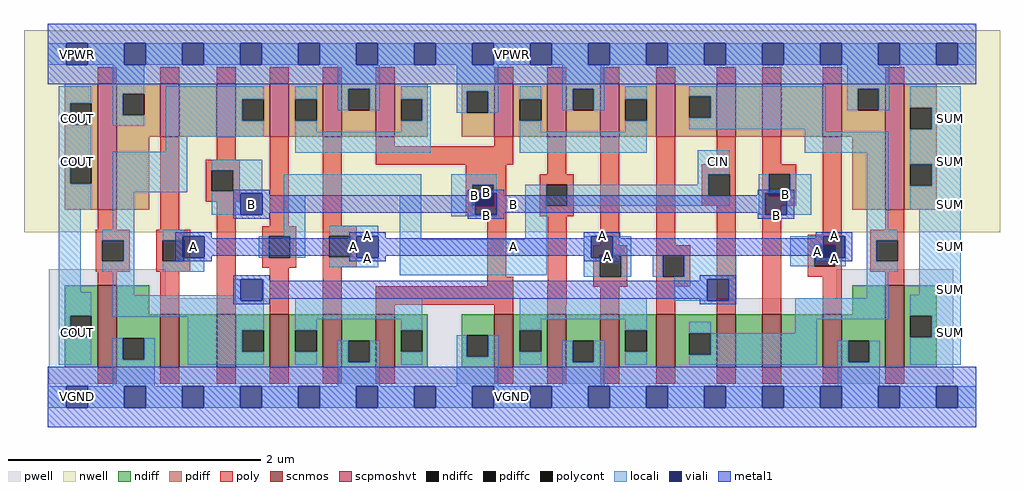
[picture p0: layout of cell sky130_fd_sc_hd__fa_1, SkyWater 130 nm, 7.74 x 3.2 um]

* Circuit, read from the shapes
.subckt sky130_fd_sc_hd__fa_1 A B CIN VGND VNB VPB VPWR COUT SUM
XM1 VGND n1 COUT VNB sky130_fd_pr__nfet_01v8 w=0.65 l=0.15
XM2 n2 A VGND VNB sky130_fd_pr__nfet_01v8 w=0.42 l=0.15
XM3 n1 B n2 VNB sky130_fd_pr__nfet_01v8 w=0.42 l=0.15
XM4 n3 CIN n1 VNB sky130_fd_pr__nfet_01v8 w=0.42 l=0.15
XM5 VGND A n3 VNB sky130_fd_pr__nfet_01v8 w=0.42 l=0.15
XM6 n3 B VGND VNB sky130_fd_pr__nfet_01v8 w=0.42 l=0.15
XM7 n4 B VGND VNB sky130_fd_pr__nfet_01v8 w=0.42 l=0.15
XM8 VGND CIN n4 VNB sky130_fd_pr__nfet_01v8 w=0.42 l=0.15
XM9 n4 A VGND VNB sky130_fd_pr__nfet_01v8 w=0.42 l=0.15
XM10 n5 n1 n4 VNB sky130_fd_pr__nfet_01v8 w=0.42 l=0.15
XM11 n6 CIN n5 VNB sky130_fd_pr__nfet_01v8 w=0.42 l=0.15
XM12 n7 B n6 VNB sky130_fd_pr__nfet_01v8 w=0.42 l=0.15
XM13 VGND A n7 VNB sky130_fd_pr__nfet_01v8 w=0.42 l=0.15
XM14 SUM n5 VGND VNB sky130_fd_pr__nfet_01v8 w=0.65 l=0.15
XM15 VPWR n1 COUT VPB sky130_fd_pr__pfet_01v8_hvt w=1 l=0.15
XM16 n8 A VPWR VPB sky130_fd_pr__pfet_01v8_hvt w=0.42 l=0.15
XM17 n1 B n8 VPB sky130_fd_pr__pfet_01v8_hvt w=0.42 l=0.15
XM18 n9 CIN n1 VPB sky130_fd_pr__pfet_01v8_hvt w=0.42 l=0.15
XM19 VPWR A n9 VPB sky130_fd_pr__pfet_01v8_hvt w=0.42 l=0.15
XM20 n9 B VPWR VPB sky130_fd_pr__pfet_01v8_hvt w=0.42 l=0.15
XM21 n10 B VPWR VPB sky130_fd_pr__pfet_01v8_hvt w=0.42 l=0.15
XM22 VPWR CIN n10 VPB sky130_fd_pr__pfet_01v8_hvt w=0.42 l=0.15
XM23 n10 A VPWR VPB sky130_fd_pr__pfet_01v8_hvt w=0.42 l=0.15
XM24 n5 n1 n10 VPB sky130_fd_pr__pfet_01v8_hvt w=0.42 l=0.15
XM25 n11 CIN n5 VPB sky130_fd_pr__pfet_01v8_hvt w=0.42 l=0.15
XM26 n12 B n11 VPB sky130_fd_pr__pfet_01v8_hvt w=0.42 l=0.15
XM27 VPWR A n12 VPB sky130_fd_pr__pfet_01v8_hvt w=0.42 l=0.15
XM28 SUM n5 VPWR VPB sky130_fd_pr__pfet_01v8_hvt w=1 l=0.15
.ends

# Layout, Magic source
magic
tech sky130A
magscale 1 2
<< nwell >>
rect -38 261 1510 582
<< pwell >>
rect 1 157 187 203
rect 1250 157 1436 203
rect 1 21 1436 157
rect 30 -17 64 21
<< scnmos >>
rect 79 47 109 177
rect 178 47 208 131
rect 268 47 298 131
rect 352 47 382 131
rect 436 47 466 131
rect 520 47 550 131
rect 708 47 738 131
rect 792 47 822 131
rect 876 47 906 131
rect 965 47 995 131
rect 1061 47 1091 131
rect 1133 47 1163 131
rect 1229 47 1259 131
rect 1328 47 1358 177
<< scpmoshvt >>
rect 79 297 109 497
rect 178 413 208 497
rect 268 413 298 497
rect 352 413 382 497
rect 436 413 466 497
rect 520 413 550 497
rect 708 413 738 497
rect 792 413 822 497
rect 876 413 906 497
rect 965 413 995 497
rect 1061 413 1091 497
rect 1133 413 1163 497
rect 1229 413 1259 497
rect 1328 297 1358 497
<< ndiff >>
rect 27 129 79 177
rect 27 95 35 129
rect 69 95 79 129
rect 27 47 79 95
rect 109 131 161 177
rect 1276 131 1328 177
rect 109 93 178 131
rect 109 59 119 93
rect 153 59 178 93
rect 109 47 178 59
rect 208 47 268 131
rect 298 106 352 131
rect 298 72 308 106
rect 342 72 352 106
rect 298 47 352 72
rect 382 106 436 131
rect 382 72 392 106
rect 426 72 436 106
rect 382 47 436 72
rect 466 89 520 131
rect 466 55 476 89
rect 510 55 520 89
rect 466 47 520 55
rect 550 106 602 131
rect 550 72 560 106
rect 594 72 602 106
rect 550 47 602 72
rect 656 98 708 131
rect 656 64 664 98
rect 698 64 708 98
rect 656 47 708 64
rect 738 106 792 131
rect 738 72 748 106
rect 782 72 792 106
rect 738 47 792 72
rect 822 89 876 131
rect 822 55 832 89
rect 866 55 876 89
rect 822 47 876 55
rect 906 106 965 131
rect 906 72 916 106
rect 950 72 965 106
rect 906 47 965 72
rect 995 101 1061 131
rect 995 67 1017 101
rect 1051 67 1061 101
rect 995 47 1061 67
rect 1091 47 1133 131
rect 1163 47 1229 131
rect 1259 89 1328 131
rect 1259 55 1269 89
rect 1303 55 1328 89
rect 1259 47 1328 55
rect 1358 129 1410 177
rect 1358 95 1368 129
rect 1402 95 1410 129
rect 1358 47 1410 95
<< pdiff >>
rect 27 466 79 497
rect 27 432 35 466
rect 69 432 79 466
rect 27 372 79 432
rect 27 338 35 372
rect 69 338 79 372
rect 27 297 79 338
rect 109 481 178 497
rect 109 447 119 481
rect 153 447 178 481
rect 109 413 178 447
rect 208 413 268 497
rect 298 472 352 497
rect 298 438 308 472
rect 342 438 352 472
rect 298 413 352 438
rect 382 472 436 497
rect 382 438 392 472
rect 426 438 436 472
rect 382 413 436 438
rect 466 489 520 497
rect 466 455 476 489
rect 510 455 520 489
rect 466 413 520 455
rect 550 472 602 497
rect 550 438 560 472
rect 594 438 602 472
rect 550 413 602 438
rect 656 485 708 497
rect 656 451 664 485
rect 698 451 708 485
rect 656 413 708 451
rect 738 472 792 497
rect 738 438 748 472
rect 782 438 792 472
rect 738 413 792 438
rect 822 489 876 497
rect 822 455 832 489
rect 866 455 876 489
rect 822 413 876 455
rect 906 472 965 497
rect 906 438 916 472
rect 950 438 965 472
rect 906 413 965 438
rect 995 477 1061 497
rect 995 443 1017 477
rect 1051 443 1061 477
rect 995 413 1061 443
rect 1091 413 1133 497
rect 1163 413 1229 497
rect 1259 489 1328 497
rect 1259 455 1284 489
rect 1318 455 1328 489
rect 1259 413 1328 455
rect 109 297 161 413
rect 1276 297 1328 413
rect 1358 459 1410 497
rect 1358 425 1368 459
rect 1402 425 1410 459
rect 1358 369 1410 425
rect 1358 335 1368 369
rect 1402 335 1410 369
rect 1358 297 1410 335
<< ndiffc >>
rect 35 95 69 129
rect 119 59 153 93
rect 308 72 342 106
rect 392 72 426 106
rect 476 55 510 89
rect 560 72 594 106
rect 664 64 698 98
rect 748 72 782 106
rect 832 55 866 89
rect 916 72 950 106
rect 1017 67 1051 101
rect 1269 55 1303 89
rect 1368 95 1402 129
<< pdiffc >>
rect 35 432 69 466
rect 35 338 69 372
rect 119 447 153 481
rect 308 438 342 472
rect 392 438 426 472
rect 476 455 510 489
rect 560 438 594 472
rect 664 451 698 485
rect 748 438 782 472
rect 832 455 866 489
rect 916 438 950 472
rect 1017 443 1051 477
rect 1284 455 1318 489
rect 1368 425 1402 459
rect 1368 335 1402 369
<< poly >>
rect 79 497 109 523
rect 178 497 208 523
rect 268 497 298 523
rect 352 497 382 523
rect 436 497 466 523
rect 520 497 550 523
rect 708 497 738 523
rect 792 497 822 523
rect 876 497 906 523
rect 965 497 995 523
rect 1061 497 1091 523
rect 1133 497 1163 523
rect 1229 497 1259 523
rect 1328 497 1358 523
rect 79 265 109 297
rect 178 265 208 413
rect 268 376 298 413
rect 250 360 304 376
rect 250 326 260 360
rect 294 326 304 360
rect 250 310 304 326
rect 76 249 130 265
rect 76 215 86 249
rect 120 215 130 249
rect 76 199 130 215
rect 172 249 226 265
rect 172 215 182 249
rect 216 215 226 249
rect 172 199 226 215
rect 79 177 109 199
rect 178 131 208 199
rect 268 131 298 310
rect 352 271 382 413
rect 436 272 466 413
rect 520 398 550 413
rect 708 398 738 413
rect 520 368 738 398
rect 663 337 727 368
rect 792 353 822 413
rect 663 303 673 337
rect 707 303 727 337
rect 663 287 727 303
rect 780 337 834 353
rect 780 303 790 337
rect 824 303 834 337
rect 780 287 834 303
rect 340 255 394 271
rect 340 221 350 255
rect 384 221 394 255
rect 340 205 394 221
rect 436 256 490 272
rect 436 222 446 256
rect 480 222 490 256
rect 436 206 490 222
rect 352 131 382 205
rect 436 131 466 206
rect 697 191 727 287
rect 697 176 738 191
rect 793 176 823 287
rect 876 241 906 413
rect 965 241 995 413
rect 1061 369 1091 413
rect 1037 353 1091 369
rect 1037 319 1047 353
rect 1081 319 1091 353
rect 1037 303 1091 319
rect 520 146 738 176
rect 520 131 550 146
rect 708 131 738 146
rect 792 146 823 176
rect 865 225 919 241
rect 865 191 875 225
rect 909 191 919 225
rect 865 175 919 191
rect 965 225 1019 241
rect 965 191 975 225
rect 1009 191 1019 225
rect 965 175 1019 191
rect 792 131 822 146
rect 876 131 906 175
rect 965 131 995 175
rect 1061 131 1091 303
rect 1133 369 1163 413
rect 1133 353 1187 369
rect 1133 319 1143 353
rect 1177 319 1187 353
rect 1133 303 1187 319
rect 1133 131 1163 303
rect 1229 257 1259 413
rect 1328 265 1358 297
rect 1205 241 1259 257
rect 1205 207 1215 241
rect 1249 207 1259 241
rect 1205 191 1259 207
rect 1304 249 1358 265
rect 1304 215 1314 249
rect 1348 215 1358 249
rect 1304 199 1358 215
rect 1229 131 1259 191
rect 1328 177 1358 199
rect 79 21 109 47
rect 178 21 208 47
rect 268 21 298 47
rect 352 21 382 47
rect 436 21 466 47
rect 520 21 550 47
rect 708 21 738 47
rect 792 21 822 47
rect 876 21 906 47
rect 965 21 995 47
rect 1061 21 1091 47
rect 1133 21 1163 47
rect 1229 21 1259 47
rect 1328 21 1358 47
<< polycont >>
rect 260 326 294 360
rect 86 215 120 249
rect 182 215 216 249
rect 673 303 707 337
rect 790 303 824 337
rect 350 221 384 255
rect 446 222 480 256
rect 1047 319 1081 353
rect 875 191 909 225
rect 975 191 1009 225
rect 1143 319 1177 353
rect 1215 207 1249 241
rect 1314 215 1348 249
<< locali >>
rect 0 527 29 561
rect 63 527 121 561
rect 155 527 213 561
rect 247 527 305 561
rect 339 527 397 561
rect 431 527 489 561
rect 523 527 581 561
rect 615 527 673 561
rect 707 527 765 561
rect 799 527 857 561
rect 891 527 949 561
rect 983 527 1041 561
rect 1075 527 1133 561
rect 1167 527 1225 561
rect 1259 527 1317 561
rect 1351 527 1409 561
rect 1443 527 1472 561
rect 17 466 69 493
rect 17 432 35 466
rect 17 372 69 432
rect 103 481 153 527
rect 103 447 119 481
rect 103 430 153 447
rect 187 472 342 493
rect 187 438 308 472
rect 187 413 342 438
rect 392 472 426 493
rect 460 489 526 527
rect 460 455 476 489
rect 510 455 526 489
rect 560 472 607 493
rect 392 421 426 438
rect 594 438 607 472
rect 648 485 714 527
rect 648 451 664 485
rect 698 451 714 485
rect 748 472 782 493
rect 560 421 607 438
rect 187 389 221 413
rect 17 338 35 372
rect 17 297 69 338
rect 103 325 221 389
rect 392 387 607 421
rect 816 489 882 527
rect 816 455 832 489
rect 866 455 882 489
rect 916 472 950 493
rect 748 421 782 438
rect 916 421 950 438
rect 1017 477 1234 493
rect 1051 443 1234 477
rect 1268 489 1334 527
rect 1268 455 1284 489
rect 1318 455 1334 489
rect 1368 459 1448 493
rect 1017 425 1234 443
rect 748 387 950 421
rect 1200 421 1234 425
rect 1402 425 1448 459
rect 260 360 340 376
rect 294 326 340 360
rect 1031 353 1081 391
rect 1200 387 1333 421
rect 17 166 52 297
rect 103 265 137 325
rect 260 323 340 326
rect 260 289 306 323
rect 374 319 592 353
rect 86 249 137 265
rect 120 215 137 249
rect 86 199 137 215
rect 182 255 216 265
rect 374 255 408 319
rect 182 249 214 255
rect 334 221 350 255
rect 384 221 408 255
rect 446 256 524 272
rect 480 255 524 256
rect 480 222 490 255
rect 446 221 490 222
rect 216 215 248 221
rect 182 199 248 215
rect 446 206 524 221
rect 558 250 592 319
rect 640 337 712 353
rect 1031 337 1047 353
rect 640 303 673 337
rect 707 323 712 337
rect 640 289 678 303
rect 640 287 712 289
rect 757 303 790 337
rect 824 319 1047 337
rect 824 303 1081 319
rect 1127 323 1143 353
rect 757 250 791 303
rect 1127 289 1138 323
rect 1177 319 1211 353
rect 1172 289 1211 319
rect 1299 265 1333 387
rect 1368 369 1448 425
rect 1402 335 1448 369
rect 1368 297 1448 335
rect 17 129 69 166
rect 17 95 35 129
rect 103 161 137 199
rect 558 193 791 250
rect 850 221 862 255
rect 896 225 925 255
rect 1177 241 1230 255
rect 850 191 875 221
rect 909 191 925 225
rect 959 191 975 225
rect 1009 191 1092 225
rect 1177 207 1215 241
rect 1264 221 1265 255
rect 1249 207 1265 221
rect 1299 249 1348 265
rect 1299 215 1314 249
rect 993 187 1092 191
rect 294 161 306 187
rect 103 153 306 161
rect 340 153 342 187
rect 103 127 342 153
rect 17 51 69 95
rect 222 106 342 127
rect 103 59 119 93
rect 153 59 169 93
rect 103 17 169 59
rect 222 72 308 106
rect 222 51 342 72
rect 392 123 594 157
rect 392 106 426 123
rect 560 106 594 123
rect 392 51 426 72
rect 460 55 476 89
rect 510 55 526 89
rect 460 17 526 55
rect 748 123 950 157
rect 993 153 1046 187
rect 1080 153 1092 187
rect 1299 199 1348 215
rect 1299 157 1333 199
rect 1382 162 1448 297
rect 748 106 782 123
rect 560 51 594 72
rect 648 64 664 98
rect 698 64 714 98
rect 648 17 714 64
rect 916 106 950 123
rect 1185 123 1333 157
rect 1368 129 1448 162
rect 748 51 782 72
rect 816 55 832 89
rect 866 55 882 89
rect 816 17 882 55
rect 916 51 950 72
rect 1017 101 1051 119
rect 1185 101 1219 123
rect 1051 67 1219 101
rect 1402 95 1448 129
rect 1017 51 1219 67
rect 1253 55 1269 89
rect 1303 55 1319 89
rect 1253 17 1319 55
rect 1368 51 1448 95
rect 0 -17 29 17
rect 63 -17 121 17
rect 155 -17 213 17
rect 247 -17 305 17
rect 339 -17 397 17
rect 431 -17 489 17
rect 523 -17 581 17
rect 615 -17 673 17
rect 707 -17 765 17
rect 799 -17 857 17
rect 891 -17 949 17
rect 983 -17 1041 17
rect 1075 -17 1133 17
rect 1167 -17 1225 17
rect 1259 -17 1317 17
rect 1351 -17 1409 17
rect 1443 -17 1472 17
<< viali >>
rect 29 527 63 561
rect 121 527 155 561
rect 213 527 247 561
rect 305 527 339 561
rect 397 527 431 561
rect 489 527 523 561
rect 581 527 615 561
rect 673 527 707 561
rect 765 527 799 561
rect 857 527 891 561
rect 949 527 983 561
rect 1041 527 1075 561
rect 1133 527 1167 561
rect 1225 527 1259 561
rect 1317 527 1351 561
rect 1409 527 1443 561
rect 306 289 340 323
rect 214 249 248 255
rect 214 221 216 249
rect 216 221 248 249
rect 490 221 524 255
rect 678 303 707 323
rect 707 303 712 323
rect 678 289 712 303
rect 1138 319 1143 323
rect 1143 319 1172 323
rect 1138 289 1172 319
rect 862 225 896 255
rect 1230 241 1264 255
rect 862 221 875 225
rect 875 221 896 225
rect 1230 221 1249 241
rect 1249 221 1264 241
rect 306 153 340 187
rect 1046 153 1080 187
rect 29 -17 63 17
rect 121 -17 155 17
rect 213 -17 247 17
rect 305 -17 339 17
rect 397 -17 431 17
rect 489 -17 523 17
rect 581 -17 615 17
rect 673 -17 707 17
rect 765 -17 799 17
rect 857 -17 891 17
rect 949 -17 983 17
rect 1041 -17 1075 17
rect 1133 -17 1167 17
rect 1225 -17 1259 17
rect 1317 -17 1351 17
rect 1409 -17 1443 17
<< metal1 >>
rect 0 561 1472 592
rect 0 527 29 561
rect 63 527 121 561
rect 155 527 213 561
rect 247 527 305 561
rect 339 527 397 561
rect 431 527 489 561
rect 523 527 581 561
rect 615 527 673 561
rect 707 527 765 561
rect 799 527 857 561
rect 891 527 949 561
rect 983 527 1041 561
rect 1075 527 1133 561
rect 1167 527 1225 561
rect 1259 527 1317 561
rect 1351 527 1409 561
rect 1443 527 1472 561
rect 0 496 1472 527
rect 294 323 352 329
rect 294 289 306 323
rect 340 320 352 323
rect 666 323 724 329
rect 666 320 678 323
rect 340 292 678 320
rect 340 289 352 292
rect 294 283 352 289
rect 666 289 678 292
rect 712 320 724 323
rect 1126 323 1184 329
rect 1126 320 1138 323
rect 712 292 1138 320
rect 712 289 724 292
rect 666 283 724 289
rect 1126 289 1138 292
rect 1172 289 1184 323
rect 1126 283 1184 289
rect 202 255 260 261
rect 202 221 214 255
rect 248 252 260 255
rect 478 255 536 261
rect 478 252 490 255
rect 248 224 490 252
rect 248 221 260 224
rect 202 215 260 221
rect 478 221 490 224
rect 524 252 536 255
rect 850 255 908 261
rect 850 252 862 255
rect 524 224 862 252
rect 524 221 536 224
rect 478 215 536 221
rect 850 221 862 224
rect 896 252 908 255
rect 1218 255 1276 261
rect 1218 252 1230 255
rect 896 224 1230 252
rect 896 221 908 224
rect 850 215 908 221
rect 1218 221 1230 224
rect 1264 221 1276 255
rect 1218 215 1276 221
rect 294 187 352 193
rect 294 153 306 187
rect 340 184 352 187
rect 1034 187 1092 193
rect 1034 184 1046 187
rect 340 156 1046 184
rect 340 153 352 156
rect 294 147 352 153
rect 1034 153 1046 156
rect 1080 153 1092 187
rect 1034 147 1092 153
rect 0 17 1472 48
rect 0 -17 29 17
rect 63 -17 121 17
rect 155 -17 213 17
rect 247 -17 305 17
rect 339 -17 397 17
rect 431 -17 489 17
rect 523 -17 581 17
rect 615 -17 673 17
rect 707 -17 765 17
rect 799 -17 857 17
rect 891 -17 949 17
rect 983 -17 1041 17
rect 1075 -17 1133 17
rect 1167 -17 1225 17
rect 1259 -17 1317 17
rect 1351 -17 1409 17
rect 1443 -17 1472 17
rect 0 -48 1472 -17
<< labels >>
flabel locali s 30 425 64 459 0 FreeSans 200 0 0 0 COUT
port 8 nsew signal output
flabel locali s 30 357 64 391 0 FreeSans 200 0 0 0 COUT
port 8 nsew signal output
flabel locali s 30 85 64 119 0 FreeSans 200 0 0 0 COUT
port 8 nsew signal output
flabel locali s 1046 357 1080 391 0 FreeSans 200 0 0 0 CIN
port 3 nsew signal input
flabel locali s 30 -17 64 17 0 FreeSans 200 0 0 0 VGND
port 4 nsew ground bidirectional abutment
flabel locali s 30 527 64 561 0 FreeSans 200 0 0 0 VPWR
port 7 nsew power bidirectional abutment
flabel locali s 1414 85 1448 119 0 FreeSans 200 0 0 0 SUM
port 9 nsew signal output
flabel locali s 1414 153 1448 187 0 FreeSans 200 0 0 0 SUM
port 9 nsew signal output
flabel locali s 1414 221 1448 255 0 FreeSans 200 0 0 0 SUM
port 9 nsew signal output
flabel locali s 1414 289 1448 323 0 FreeSans 200 0 0 0 SUM
port 9 nsew signal output
flabel locali s 1414 357 1448 391 0 FreeSans 200 0 0 0 SUM
port 9 nsew signal output
flabel locali s 1414 425 1448 459 0 FreeSans 200 0 0 0 SUM
port 9 nsew signal output
flabel locali s 214 221 248 255 0 FreeSans 200 0 0 0 A
port 1 nsew signal input
flabel locali s 306 289 340 323 0 FreeSans 200 0 0 0 B
port 2 nsew signal input
flabel nwell s 30 527 64 561 0 FreeSans 200 0 0 0 VPB
port 6 nsew power bidirectional
flabel pwell s 30 -17 64 17 0 FreeSans 200 0 0 0 VNB
port 5 nsew ground bidirectional
flabel metal1 s 30 -17 64 17 0 FreeSans 200 0 0 0 VGND
port 4 nsew ground bidirectional abutment
flabel metal1 s 30 527 64 561 0 FreeSans 200 0 0 0 VPWR
port 7 nsew power bidirectional abutment
rlabel comment s 0 0 0 0 4 fa_1
rlabel locali s 446 206 524 272 1 A
port 1 nsew signal input
rlabel locali s 850 191 925 255 1 A
port 1 nsew signal input
rlabel locali s 1177 207 1265 255 1 A
port 1 nsew signal input
rlabel metal1 s 1218 252 1276 261 1 A
port 1 nsew signal input
rlabel metal1 s 1218 215 1276 224 1 A
port 1 nsew signal input
rlabel metal1 s 850 252 908 261 1 A
port 1 nsew signal input
rlabel metal1 s 850 215 908 224 1 A
port 1 nsew signal input
rlabel metal1 s 478 252 536 261 1 A
port 1 nsew signal input
rlabel metal1 s 478 215 536 224 1 A
port 1 nsew signal input
rlabel metal1 s 202 252 260 261 1 A
port 1 nsew signal input
rlabel metal1 s 202 224 1276 252 1 A
port 1 nsew signal input
rlabel metal1 s 202 215 260 224 1 A
port 1 nsew signal input
rlabel locali s 640 287 712 353 1 B
port 2 nsew signal input
rlabel locali s 1127 289 1211 353 1 B
port 2 nsew signal input
rlabel metal1 s 1126 320 1184 329 1 B
port 2 nsew signal input
rlabel metal1 s 1126 283 1184 292 1 B
port 2 nsew signal input
rlabel metal1 s 666 320 724 329 1 B
port 2 nsew signal input
rlabel metal1 s 666 283 724 292 1 B
port 2 nsew signal input
rlabel metal1 s 294 320 352 329 1 B
port 2 nsew signal input
rlabel metal1 s 294 292 1184 320 1 B
port 2 nsew signal input
rlabel metal1 s 294 283 352 292 1 B
port 2 nsew signal input
rlabel metal1 s 0 -48 1472 48 1 VGND
port 4 nsew ground bidirectional abutment
rlabel metal1 s 0 496 1472 592 1 VPWR
port 7 nsew power bidirectional abutment
<< properties >>
string FIXED_BBOX 0 0 1472 544
string GDS_END 2064582
string GDS_FILE $PDKPATH/libs.ref/sky130_fd_sc_hd/gds/sky130_fd_sc_hd.gds
string GDS_START 2051632
string LEFclass CORE
string LEFsite unithd
string LEFsymmetry X Y R90
string path 0.000 0.000 36.800 0.000 
<< end >>
